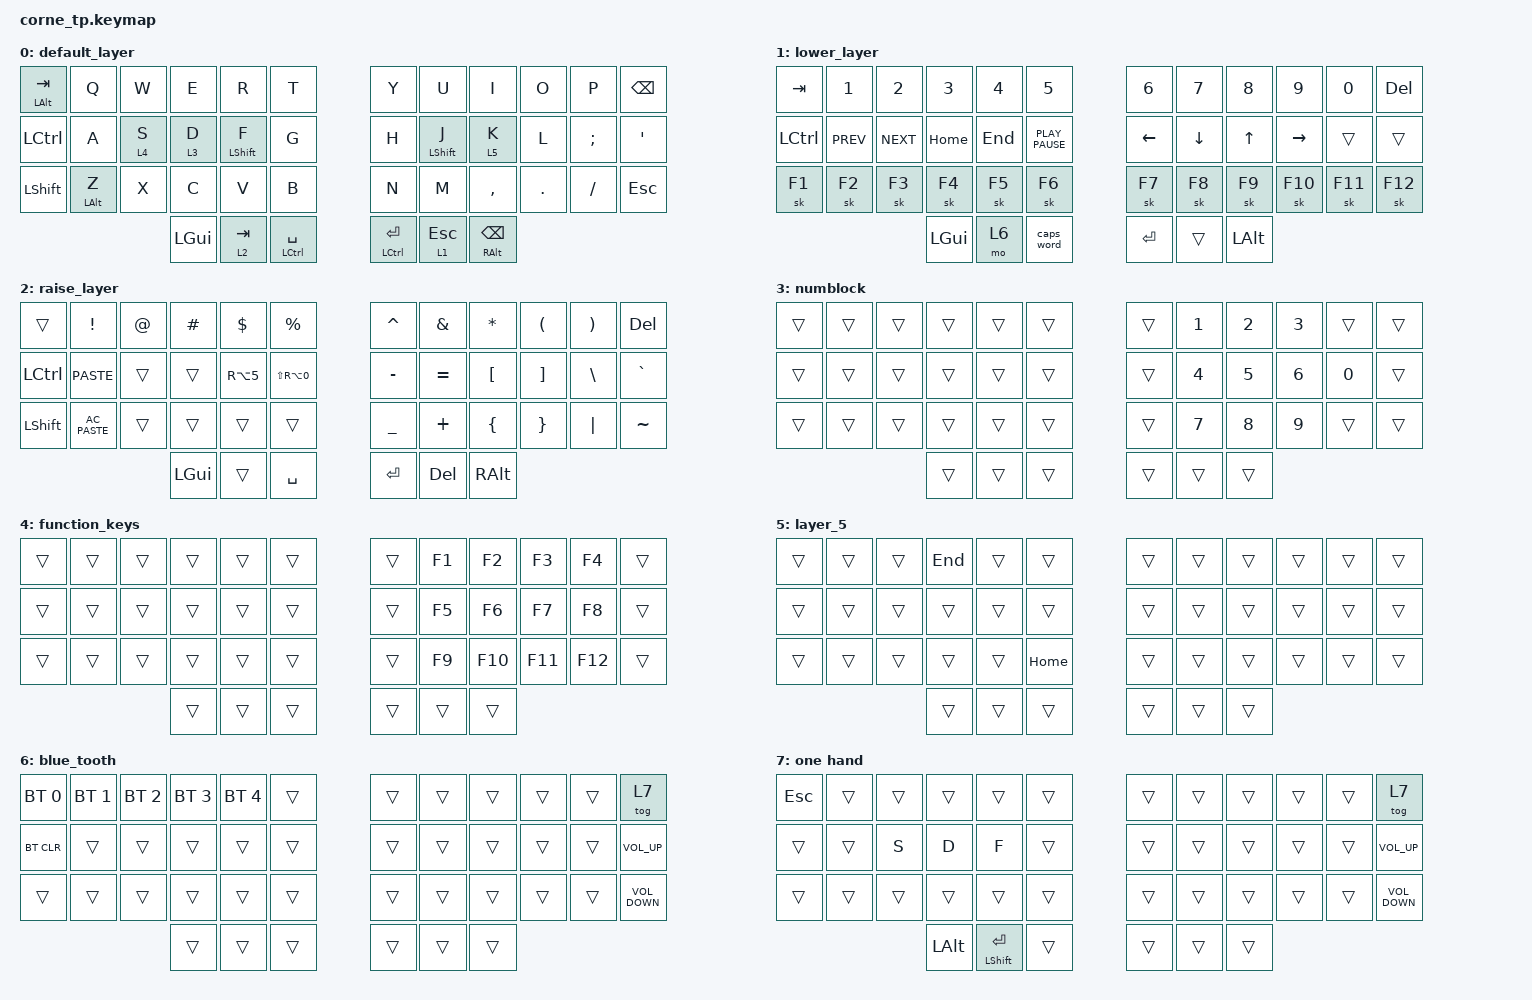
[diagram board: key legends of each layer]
/*
 * Copyright (c) 2020 The ZMK Contributors
 *
 * SPDX-License-Identifier: MIT
 */

#include <behaviors.dtsi>
#include <dt-bindings/zmk/bt.h>
#include <dt-bindings/zmk/keys.h>

&mt { flavor = "tap-preferred"; };

/ {
    combos {
        compatible = "zmk,combos";

        layer3 {
            bindings = <&mo 0>;
            key-positions = <37 40>;
        };
    };

    behaviors {
        hold_tog: hold_tog {
            compatible = "zmk,behavior-hold-tap";
            label = "HOLD_TOG";
            bindings = <&kp>, <&tog>;

            #binding-cells = <2>;
            tapping-term-ms = <200>;
        };

        ht_balanced: ht_balanced {
            compatible = "zmk,behavior-hold-tap";
            label = "HT_BALANCED";
            bindings = <&kp>, <&kp>;

            #binding-cells = <2>;
            flavor = "balanced";
            tapping-term-ms = <200>;
        };

        lt_balanced: lt_balanced {
            compatible = "zmk,behavior-hold-tap";
            label = "LT_BALANCED";
            bindings = <&mo>, <&kp>;

            #binding-cells = <2>;
            tapping-term-ms = <200>;
            flavor = "balanced";
        };

        ht_interrupted: ht_interrupted {
            compatible = "zmk,behavior-hold-tap";
            label = "HT_INTERRUPTED";
            bindings = <&kp>, <&kp>;

            #binding-cells = <2>;
            flavor = "tap-unless-interrupted";
            tapping-term-ms = <200>;
        };

        lt_interrupted: lt_interrupted {
            compatible = "zmk,behavior-hold-tap";
            label = "LT_INTERRUPTED";
            bindings = <&mo>, <&kp>;

            #binding-cells = <2>;
            tapping-term-ms = <200>;
            flavor = "tap-unless-interrupted";
        };
    };

    keymap {
        compatible = "zmk,keymap";

        default_layer {
            // -----------------------------------------------------------------------------------------
            // |  TAB |  Q  |  W  |  E  |  R  |  T  |   |  Y  |  U   |  I  |  O  |  P  | BKSP |
            // | CTRL |  A  |  S  |  D  |  F  |  G  |   |  H  |  J   |  K  |  L  |  ;  |  '   |
            // | SHFT |  Z  |  X  |  C  |  V  |  B  |   |  N  |  M   |  ,  |  .  |  /  | ESC  |
            //                    | GUI | LWR | SPC |   | ENT | RSE  | ALT |

            bindings = <
&mt LEFT_ALT TAB  &kp Q       &kp W             &kp E             &kp R                 &kp T              &kp Y          &kp U                    &kp I                    &kp O    &kp P     &kp BSPC
&kp LCTRL         &kp A       &lt_balanced 4 S  &lt_balanced 3 D  &ht_balanced LSHFT F  &kp G              &kp H          &ht_interrupted LSHFT J  &lt_interrupted 5 K      &kp L    &kp SEMI  &kp SQT
&kp LSHIFT        &mt LALT Z  &kp X             &kp C             &kp V                 &kp B              &kp N          &kp M                    &kp COMMA                &kp DOT  &kp FSLH  &kp ESC
                                                &kp LGUI          &lt 2 TAB             &mt LCTRL SPACE    &mt LCTRL RET  &lt 1 ESC                &mt RIGHT_ALT BACKSPACE
            >;
        };

        lower_layer {
            // -----------------------------------------------------------------------------------------
            // |  TAB |  1  |  2  |  3  |  4  |  5  |   |  6  |  7  |  8  |  9  |  0  | BKSP |
            // | LCTRL|     |     |     |     |     |   | LFT | DWN |  UP | RGT |     |      |
            // | SHFT |     |     |     |     |     |   |     |     |     |     |     |      |
            //                    | GUI |     | SPC |   | ENT |     | ALT |

            bindings = <
&kp TAB    &kp N1      &kp N2      &kp N3    &kp N4   &kp N5              &kp N6    &kp N7    &kp N8        &kp N9     &kp N0   &kp DEL
&kp LCTRL  &kp K_PREV  &kp K_NEXT  &kp HOME  &kp END  &kp K_PLAY_PAUSE    &kp LEFT  &kp DOWN  &kp UP        &kp RIGHT  &trans   &trans
&sk F1     &sk F2      &sk F3      &sk F4    &sk F5   &sk F6              &sk F7    &sk F8    &sk F9        &sk F10    &sk F11  &sk F12
                                   &kp LGUI  &mo 6    &caps_word          &kp RET   &trans    &kp LEFT_ALT
            >;
        };

        raise_layer {
            // -----------------------------------------------------------------------------------------
            // |  TAB |  !  |  @  |  #  |  $  |  %  |   |  ^  |  &  |  *  |  (  |  )  | BKSP |
            // | CTRL |     |     |     |     |     |   |  -  |  =  |  [  |  ]  |  \  |  `   |
            // | SHFT |     |     |     |     |     |   |  _  |  +  |  {  |  }  | "|" |  ~   |
            //                    | GUI |     | SPC |   | ENT |     | ALT |

            bindings = <
&trans     &kp EXCL        &kp AT  &kp HASH  &kp DLLR          &kp PRCNT         &kp CARET  &kp AMPS    &kp ASTERISK   &kp LPAR  &kp RPAR  &kp DEL
&kp LCTRL  &kp K_PASTE     &trans  &trans    &kp RA(NUMBER_5)  &kp LS(RA(N0))    &kp MINUS  &kp EQUAL   &kp LBKT       &kp RBKT  &kp BSLH  &kp GRAVE
&kp LSHFT  &kp C_AC_PASTE  &trans  &trans    &trans            &trans            &kp UNDER  &kp PLUS    &kp LBRC       &kp RBRC  &kp PIPE  &kp TILDE
                                   &kp LGUI  &trans            &kp SPACE         &kp RET    &kp DELETE  &kp RIGHT_ALT
            >;
        };

        numblock {
            bindings = <
&trans  &trans  &trans  &trans  &trans  &trans    &trans  &kp NUMBER_1  &kp NUMBER_2  &kp NUMBER_3  &trans        &trans
&trans  &trans  &trans  &trans  &trans  &trans    &trans  &kp NUMBER_4  &kp NUMBER_5  &kp NUMBER_6  &kp NUMBER_0  &trans
&trans  &trans  &trans  &trans  &trans  &trans    &trans  &kp NUMBER_7  &kp NUMBER_8  &kp NUMBER_9  &trans        &trans
                        &trans  &trans  &trans    &trans  &trans        &trans
            >;
        };

        function_keys {
            bindings = <
&trans  &trans  &trans  &trans  &trans  &trans    &trans  &kp F1  &kp F2   &kp F3   &kp F4   &trans
&trans  &trans  &trans  &trans  &trans  &trans    &trans  &kp F5  &kp F6   &kp F7   &kp F8   &trans
&trans  &trans  &trans  &trans  &trans  &trans    &trans  &kp F9  &kp F10  &kp F11  &kp F12  &trans
                        &trans  &trans  &trans    &trans  &trans  &trans
            >;
        };

        layer_5 {
            bindings = <
&trans  &trans  &trans  &kp END  &trans  &trans      &trans  &trans  &trans  &trans  &trans  &trans
&trans  &trans  &trans  &trans   &trans  &trans      &trans  &trans  &trans  &trans  &trans  &trans
&trans  &trans  &trans  &trans   &trans  &kp HOME    &trans  &trans  &trans  &trans  &trans  &trans
                        &trans   &trans  &trans      &trans  &trans  &trans
            >;
        };

        blue_tooth {
            bindings = <
&bt BT_SEL 0  &bt BT_SEL 1  &bt BT_SEL 2  &bt BT_SEL 3  &bt BT_SEL 4  &trans    &trans  &trans  &trans  &trans  &trans  &tog 7
&bt BT_CLR    &trans        &trans        &trans        &trans        &trans    &trans  &trans  &trans  &trans  &trans  &kp C_VOLUME_UP
&trans        &trans        &trans        &trans        &trans        &trans    &trans  &trans  &trans  &trans  &trans  &kp C_VOLUME_DOWN
                                          &trans        &trans        &trans    &trans  &trans  &trans
            >;
        };

        layer_7 {
            bindings = <
&kp ESC  &trans  &trans  &trans        &trans         &trans    &trans  &trans  &trans  &trans  &trans  &tog 7
&trans   &trans  &kp S   &kp D         &kp F          &trans    &trans  &trans  &trans  &trans  &trans  &kp C_VOLUME_UP
&trans   &trans  &trans  &trans        &trans         &trans    &trans  &trans  &trans  &trans  &trans  &kp C_VOLUME_DOWN
                         &kp LEFT_ALT  &mt LSHFT RET  &trans    &trans  &trans  &trans
            >;

            label = "one hand";
        };
    };
};
